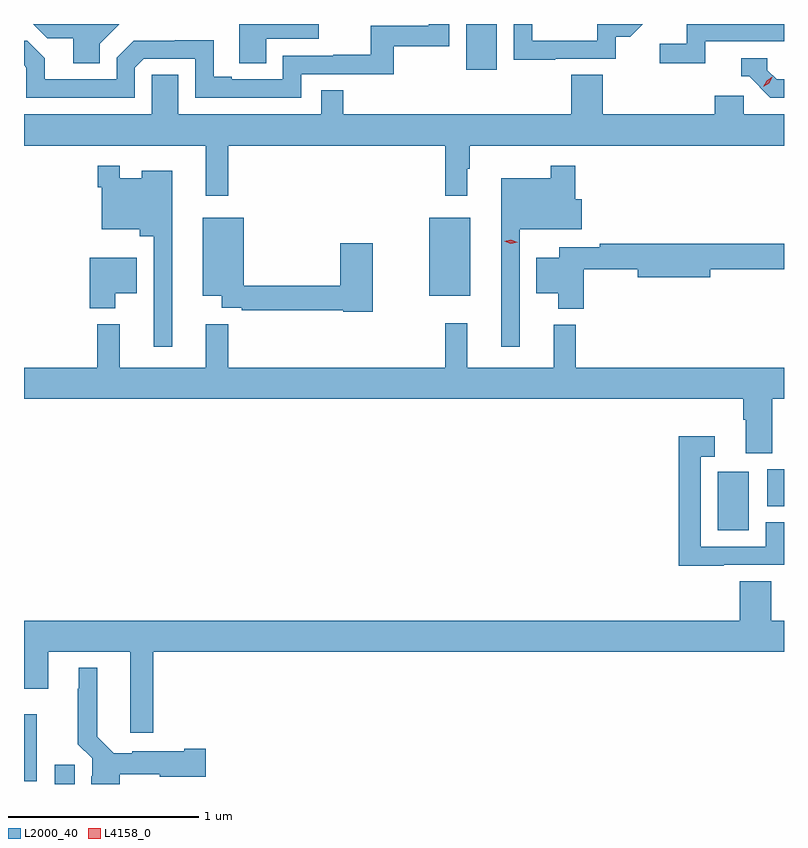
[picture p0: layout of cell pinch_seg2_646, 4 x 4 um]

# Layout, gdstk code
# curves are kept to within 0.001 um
import gdstk
lib = gdstk.Library(unit=1e-6, precision=1e-09)
def R(c, l, rs):  # rectangles x0, y0, x1, y1
    for r in rs: c.add(gdstk.rectangle(r[:2], r[2:], *l))
def P(c, l, *ps):  # polygons
    for p in ps: c.add(gdstk.Polygon(p, *l))
L2000_40 = (2000, 40)
L4158_0 = (4158, 0)

pinch_seg2_646 = lib.new_cell('pinch_seg2_646')
R(pinch_seg2_646, L2000_40, [(1042.505,590.996,1042.609,591.097), (1042.343,591.01,1042.411,591.364), (1045.994,592.332,1046.158,592.639), (1046.256,592.459,1046.343,592.653), (1044.476,593.567,1044.691,593.977), (1044.671,594.756,1044.832,594.996)])
P(pinch_seg2_646, L2000_40, [(1045.928,594.906),(1046.343,594.906),(1046.343,594.996),(1045.83,594.996),(1045.83,594.892),(1045.689,594.892),(1045.689,594.79),(1045.928,594.79)],
  [(1045.139,594.813),(1045.458,594.813),(1045.458,594.93),(1045.534,594.93),(1045.6,594.996),(1045.359,594.996),(1045.359,594.909),(1045.017,594.909),(1045.017,594.996),(1044.921,594.996),(1044.921,594.808),(1045.139,594.808)],
  [(1042.926,594.765),(1042.974,594.813),(1043.244,594.813),(1043.244,594.609),(1043.802,594.609),(1043.802,594.732),(1044.289,594.732),(1044.289,594.879),(1044.582,594.879),(1044.582,594.996),(1044.473,594.996),(1044.473,594.988),(1044.168,594.988),(1044.168,594.833),(1043.971,594.833),(1043.971,594.828),(1043.706,594.828),(1043.706,594.705),(1043.437,594.705),(1043.437,594.718),(1043.341,594.718),(1043.341,594.911),(1043.136,594.911),(1043.136,594.909),(1042.92,594.909),(1042.83,594.819),(1042.83,594.705),(1042.453,594.705),(1042.453,594.815),(1042.359,594.909),(1042.343,594.909),(1042.343,594.778),(1042.356,594.765),(1042.356,594.609),(1042.926,594.609)],
  [(1042.741,594.892),(1042.845,594.996),(1042.392,594.996),(1042.466,594.922),(1042.601,594.922),(1042.601,594.79),(1042.741,594.79)],
  [(1043.617,594.918),(1043.894,594.918),(1043.894,594.996),(1043.477,594.996),(1043.477,594.79),(1043.617,594.79)],
  [(1046.343,594.705),(1046.304,594.705),(1046.256,594.753),(1046.256,594.816),(1046.117,594.816),(1046.117,594.72),(1046.16,594.72),(1046.271,594.609),(1046.343,594.609)],
  [(1043.417,594.356),(1044.559,594.356),(1044.559,594.093),(1044.676,594.093),(1044.676,594.233),(1044.688,594.233),(1044.688,594.356),(1046.343,594.356),(1046.343,594.52),(1046.13,594.52),(1046.13,594.618),(1045.978,594.618),(1045.978,594.52),(1045.388,594.52),(1045.388,594.728),(1045.223,594.728),(1045.223,594.52),(1044.023,594.52),(1044.023,594.647),(1043.907,594.647),(1043.907,594.52),(1043.155,594.52),(1043.155,594.728),(1043.016,594.728),(1043.016,594.52),(1042.343,594.52),(1042.343,594.356),(1043.3,594.356),(1043.3,594.093),(1043.417,594.093)],
  [(1043.122,594.223),(1042.964,594.223),(1042.964,594.184),(1042.848,594.184),(1042.848,594.25),(1042.732,594.25),(1042.732,594.137),(1042.752,594.137),(1042.752,593.915),(1042.952,593.915),(1042.952,593.879),(1043.025,593.879),(1043.025,593.298),(1043.122,593.298)],
  [(1044.951,593.915),(1045.279,593.915),(1045.279,594.073),(1045.244,594.073),(1045.244,594.25),(1045.116,594.25),(1045.116,594.184),(1044.854,594.184),(1044.854,593.298),(1044.951,593.298)],
  [(1044.178,593.842),(1044.008,593.842),(1044.008,593.618),(1043.5,593.618),(1043.5,593.977),(1043.285,593.977),(1043.285,593.567),(1043.384,593.567),(1043.384,593.502),(1043.488,593.502),(1043.488,593.49),(1044.024,593.49),(1044.024,593.482),(1044.178,593.482)],
  [(1045.289,593.704),(1045.574,593.704),(1045.574,593.662),(1045.954,593.662),(1045.954,593.704),(1046.343,593.704),(1046.343,593.84),(1045.372,593.84),(1045.372,593.82),(1045.16,593.82),(1045.16,593.767),(1045.04,593.767),(1045.04,593.579),(1045.154,593.579),(1045.154,593.498),(1045.289,593.498)],
  [(1042.822,593.579),(1042.936,593.579),(1042.936,593.767),(1042.688,593.767),(1042.688,593.501),(1042.822,593.501)],
  [(1046.281,593.024),(1046.343,593.024),(1046.343,593.188),(1045.247,593.188),(1045.247,593.413),(1045.13,593.413),(1045.13,593.188),(1044.677,593.188),(1044.677,593.422),(1044.559,593.422),(1044.559,593.188),(1043.417,593.188),(1043.417,593.417),(1043.3,593.417),(1043.3,593.188),(1042.847,593.188),(1042.847,593.416),(1042.729,593.416),(1042.729,593.188),(1042.343,593.188),(1042.343,593.024),(1046.129,593.024),(1046.129,592.912),(1046.141,592.912),(1046.141,592.738),(1046.281,592.738)],
  [(1046.027,592.149),(1046.343,592.149),(1046.343,592.374),(1046.247,592.374),(1046.247,592.245),(1045.905,592.245),(1045.905,592.719),(1045.978,592.719),(1045.978,592.825),(1045.789,592.825),(1045.789,592.144),(1046.027,592.144)],
  [(1043.024,591.692),(1046.343,591.692),(1046.343,591.856),(1046.276,591.856),(1046.276,592.064),(1046.111,592.064),(1046.111,591.856),(1042.343,591.856),(1042.343,591.498),(1042.471,591.498),(1042.471,591.692),(1042.901,591.692),(1042.901,591.267),(1043.024,591.267)],
  [(1042.847,591.047),(1043.058,591.047),(1043.058,591.035),(1043.299,591.035),(1043.299,591.182),(1043.186,591.182),(1043.186,591.169),(1042.914,591.169),(1042.914,591.157),(1042.815,591.157),(1042.728,591.244),(1042.729,591.607),(1042.631,591.607),(1042.631,591.497),(1042.627,591.497),(1042.627,591.206),(1042.701,591.132),(1042.701,591.038),(1042.697,591.038),(1042.697,590.996),(1042.847,590.996)])
P(pinch_seg2_646, L4158_0, [(1044.905,593.84),(1044.87,593.852),(1044.869,593.852),(1044.87,593.852),(1044.906,593.86),(1044.941,593.848),(1044.941,593.848),(1044.941,593.848)],
  [(1046.235,594.665),(1046.235,594.665),(1046.251,594.698),(1046.281,594.718),(1046.281,594.718),(1046.281,594.718),(1046.266,594.685),(1046.235,594.665)])

lib.write_gds('pinch_seg2_646.gds')
